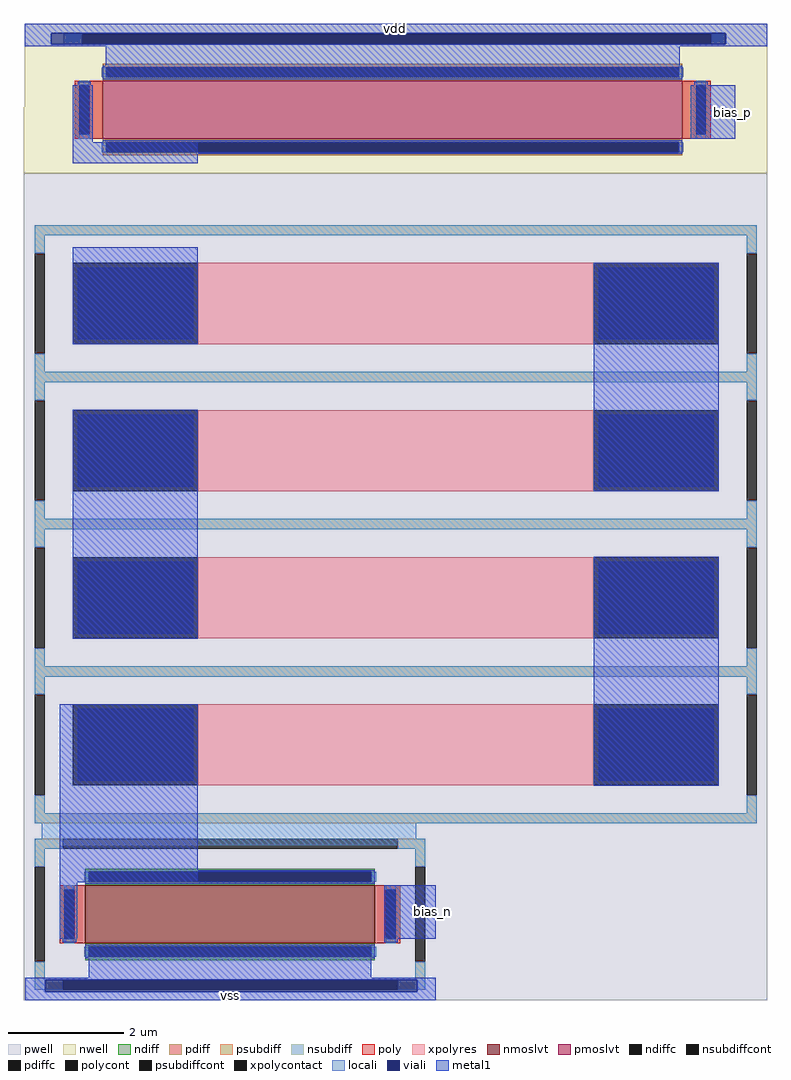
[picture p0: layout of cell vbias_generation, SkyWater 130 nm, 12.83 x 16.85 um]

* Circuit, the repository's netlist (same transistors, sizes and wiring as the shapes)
* NGSPICE file created from vbias_generation_lvs.ext - technology: sky130A

.subckt sky130_fd_pr__res_xhigh_po_1p41_UKZ7C9 B R1 R2
X0 R1 R2 B sky130_fd_pr__res_xhigh_po_1p41 l=7
.ends

.subckt sky130_fd_pr__nfet_01v8_lvt_ELBHUY B D S G
X0 S G D B sky130_fd_pr__nfet_01v8_lvt ad=1.45 pd=10.58 as=1.45 ps=10.58 w=5 l=1
.ends

.subckt sky130_fd_pr__pfet_01v8_lvt_VTBKAA B D S G
X0 S G D B sky130_fd_pr__pfet_01v8_lvt ad=2.9 pd=20.58 as=2.9 ps=20.58 w=10 l=1
.ends

.subckt vbias_generation_lvs bias_n bias_p vdd vss
XXR_bias_1 vss XR_bias_2/R2 bias_p sky130_fd_pr__res_xhigh_po_1p41_UKZ7C9
XXR_bias_2 vss XR_bias_3/R2 XR_bias_2/R2 sky130_fd_pr__res_xhigh_po_1p41_UKZ7C9
XXR_bias_3 vss XR_bias_4/R1 XR_bias_3/R2 sky130_fd_pr__res_xhigh_po_1p41_UKZ7C9
XXR_bias_4 vss XR_bias_4/R1 bias_n sky130_fd_pr__res_xhigh_po_1p41_UKZ7C9
XXMn_bias vss bias_n vss bias_n sky130_fd_pr__nfet_01v8_lvt_ELBHUY
XXMp_bias vdd bias_p vdd bias_p sky130_fd_pr__pfet_01v8_lvt_VTBKAA
.ends

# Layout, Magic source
magic
tech sky130A
magscale 1 2
<< nwell >>
rect -284 4044 2280 4332
rect -286 3838 2280 4044
rect -286 3836 -242 3838
rect 2206 3836 2280 3838
rect -286 3816 2280 3836
<< pwell >>
rect -286 962 2280 3816
<< locali >>
rect -224 1496 1068 1596
<< viali >>
rect -192 4262 2138 4300
rect -212 990 1072 1032
<< metal1 >>
rect -284 4300 2280 4332
rect -284 4262 -192 4300
rect 2138 4262 2280 4300
rect -284 4256 2280 4262
rect -4 4142 1978 4256
rect -118 3924 -48 4120
rect 2016 3936 2170 4120
rect -118 3852 314 3924
rect -118 3226 314 3562
rect -118 2210 314 3000
rect 1682 2718 2114 3508
rect -162 1368 314 1984
rect 1682 1702 2114 2492
rect -162 1174 -102 1368
rect 958 1174 1136 1358
rect -62 1038 914 1152
rect -282 1032 1136 1038
rect -282 990 -212 1032
rect 1072 990 1136 1032
rect -282 962 1136 990
use sky130_fd_pr__nfet_01v8_lvt_ELBHUY  XMn_bias
transform 0 1 426 -1 0 1258
box -296 -710 296 710
use sky130_fd_pr__pfet_01v8_lvt_VTBKAA  XMp_bias
transform 0 -1 987 1 0 4036
box -200 -1220 296 1234
use sky130_fd_pr__res_xhigh_po_1p41_UKZ7C9  XR_bias_1
transform 0 1 998 -1 0 3367
box -306 -1282 306 1282
use sky130_fd_pr__res_xhigh_po_1p41_UKZ7C9  XR_bias_2
transform 0 -1 998 1 0 2859
box -306 -1282 306 1282
use sky130_fd_pr__res_xhigh_po_1p41_UKZ7C9  XR_bias_3
transform 0 1 998 -1 0 2351
box -306 -1282 306 1282
use sky130_fd_pr__res_xhigh_po_1p41_UKZ7C9  XR_bias_4
transform 0 1 998 -1 0 1843
box -306 -1282 306 1282
<< labels >>
rlabel metal1 1114 1174 1136 1358 1 bias_n
port 0 n
rlabel metal1 -282 962 1136 990 1 vss
port 3 n
rlabel metal1 2150 3936 2170 4120 1 bias_p
port 1 n
rlabel metal1 -284 4300 2280 4332 1 vdd
port 2 n
<< end >>

# cell sky130_fd_pr__nfet_01v8_lvt_ELBHUY: kit device sky130_fd_pr__nfet_01v8_lvt, w 5.0 l 1.0 m 1 nf 1 diffcov 100 polycov 100 guard 1 glc 1 grc 1 gtc 1 gbc 1 tbcov 100 rlcov 100 topc 1 botc 1 poverlap 0 doverlap 1 lmin 0.15 wmin 0.42 class mosfet compatible {sky130_fd_pr__nfet_01v8 sky130_fd_pr__nfet_01v8_lvt sky130_fd_bs_flash__special_sonosfet_star sky130_fd_pr__nfet_g5v0d10v5 sky130_fd_pr__nfet_05v0_nvt sky130_fd_pr__nfet_03v3_nvt} full_metal 1 conn_gates 0 viasrc 100 viadrn 100 viagate 100 viagb 0 viagr 0 viagl 0 viagt 0 doports 1 ad {int((nf+1)/2) * W/nf * 0.29} as {int((nf+2)/2) * W/nf * 0.29} pd {2*int((nf+1)/2) * (W/nf + 0.29)} ps {2*int((nf+2)/2) * (W/nf + 0.29)} nrd {0.29 / W} nrs {0.29 / W} sa 0 sb 0 sd 0 mult 1

# cell sky130_fd_pr__pfet_01v8_lvt_VTBKAA: kit device sky130_fd_pr__pfet_01v8_lvt, w 10.0 l 1.0 m 1 nf 1 diffcov 100 polycov 100 guard 1 glc 1 grc 1 gtc 1 gbc 1 tbcov 100 rlcov 100 topc 1 botc 1 poverlap 0 doverlap 1 lmin 0.35 wmin 0.42 class mosfet compatible {sky130_fd_pr__pfet_01v8 sky130_fd_pr__pfet_01v8_lvt sky130_fd_pr__pfet_01v8_hvt sky130_fd_pr__pfet_g5v0d10v5} full_metal 1 conn_gates 0 viasrc 100 viadrn 100 viagate 100 viagb 0 viagr 0 viagl 0 viagt 0 doports 1 ad {int((nf+1)/2) * W/nf * 0.29} as {int((nf+2)/2) * W/nf * 0.29} pd {2*int((nf+1)/2) * (W/nf + 0.29)} ps {2*int((nf+2)/2) * (W/nf + 0.29)} nrd {0.29 / W} nrs {0.29 / W} sa 0 sb 0 sd 0 mult 1

# cell sky130_fd_pr__res_xhigh_po_1p41_UKZ7C9: kit device sky130_fd_pr__res_xhigh_po_1p41, w 1.410 l 7.0 m 1 nx 1 wmin 1.410 lmin 0.50 class resistor rho 2000 val 10.196k dummy 0 dw 0.0 term 188.2 sterm 0.0 caplen 0 wmax 1.410 guard 1 glc 1 grc 1 gtc 1 gbc 1 compatible {sky130_fd_pr__res_xhigh_po_0p35 sky130_fd_pr__res_xhigh_po_0p69 sky130_fd_pr__res_xhigh_po_1p41 sky130_fd_pr__res_xhigh_po_2p85 sky130_fd_pr__res_xhigh_po_5p73} snake 0 full_metal 1 n_guard 0 hv_guard 0 vias 1 viagb 0 viagt 0 viagl 0 viagr 0 doports 1 mult 1
